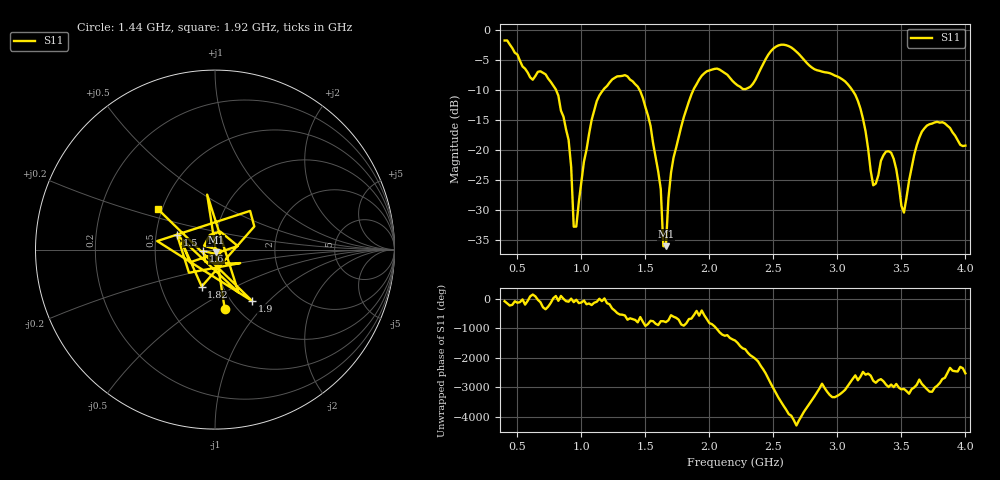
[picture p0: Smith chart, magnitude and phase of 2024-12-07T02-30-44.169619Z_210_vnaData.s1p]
!Created with skrf (http://scikit-rf.org).
# Hz S RI R 50.0
!freq ReS11 ImS11
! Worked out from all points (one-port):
!   181 points, 400 MHz to 4 GHz, reference 50 ohm
!   lowest |S11| = -36.0 dB at 1.66 GHz (marker M1), VSWR 1.03, Z = 50.4 - j1.52 ohm
!   |S11| at or under -10 dB: 802.2 MHz to 1.17 GHz (367.9 MHz wide, 37.3 % of centre); 1.455 GHz to 1.875 GHz (419.7 MHz wide, 25.2 % of centre); 3.116 GHz to end of sweep
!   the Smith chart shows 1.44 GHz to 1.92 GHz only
!   S11 on the Smith chart (normalised r, x): 1.44 GHz: 0.88, -0.66; 1.5 GHz: 0.64, +0.11; 1.6 GHz: 0.88, -0.01; 1.82 GHz: 0.80, -0.34; 1.9 GHz: 1.23, -0.81; 1.92 GHz: 0.48, +0.25
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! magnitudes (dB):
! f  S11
! 400 MHz  -1.7
! 860 MHz  -14.4
! 920 MHz  -22.8
! 940 MHz  -32.8
! 960 MHz  -32.8
! 1.12 GHz  -11.8
! 1.3 GHz  -7.7
! 1.44 GHz  -9.4
! 1.5 GHz  -12.9
! 1.6 GHz  -23.6
! 1.62 GHz  -26.5
! 1.64 GHz  -36.0
! 1.66 GHz  -36.0
! 1.7 GHz  -23.8
! 1.76 GHz  -17.8
! 1.82 GHz  -13.2
! 1.9 GHz  -9.0
! 1.92 GHz  -8.2
! 2.2 GHz  -8.9
! 2.66 GHz  -3.2
! 3.1 GHz  -9.5
! 3.2 GHz  -14.8
! 3.28 GHz  -25.9
! 3.4 GHz  -20.2
! 3.52 GHz  -30.4
! 3.56 GHz  -25.1
! 3.7 GHz  -15.9
! 4 GHz  -19.3
